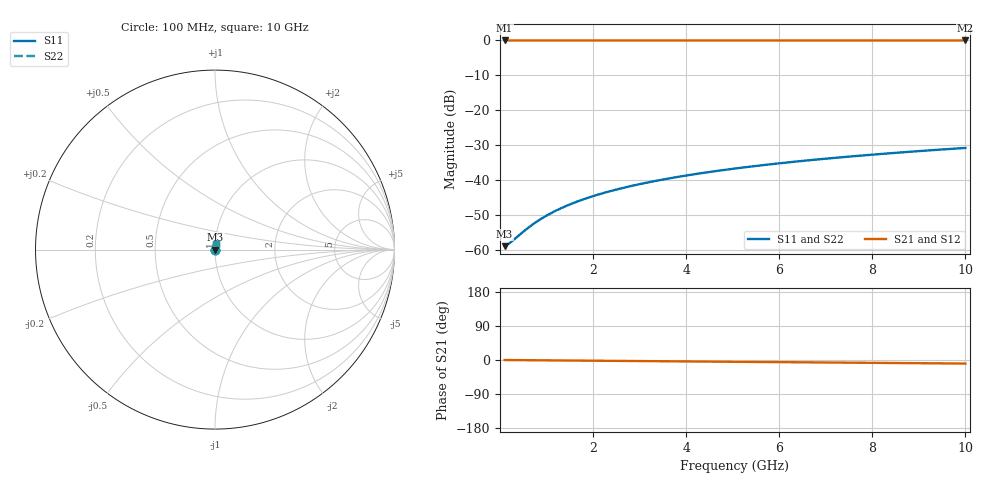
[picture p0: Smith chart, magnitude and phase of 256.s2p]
# Hz S RI R 50.00
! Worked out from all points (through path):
!   100 points, 100 MHz to 10 GHz, reference 50 ohm
!   highest |S21| = -0.01 dB at 100 MHz (marker M1); lowest = 0.0 dB at 10 GHz (marker M2)
!   group delay of S21, straight-line fit = 2.61 ps
!   lowest |S11| = -58.8 dB at 100 MHz (marker M3), VSWR 1.00, Z = 50.1 + j0.0291 ohm
!   |S11| at or under -10 dB: start of sweep to end of sweep
!   |S22| runs from -58.8 to -30.7 dB; largest |S21 - S12| = 0
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1e8  0.00111 0.00029  0.9989 -0.00163  0.9989 -0.00163  0.00111 0.00029
2e8  0.00112 0.000581  0.9989 -0.00326  0.9989 -0.00326  0.00112 0.000581
6e8  0.00115 0.00174  0.9988 -0.00979  0.9988 -0.00979  0.00115 0.00174
7e8  0.00116 0.00203  0.9988 -0.0114  0.9988 -0.0114  0.00116 0.00203
9e8  0.00118 0.00261  0.9987 -0.0147  0.9987 -0.0147  0.00118 0.00261
1.1e9  0.0012 0.00319  0.9987 -0.018  0.9987 -0.018  0.0012 0.00319
1.3e9  0.00123 0.00377  0.9986 -0.0212  0.9986 -0.0212  0.00123 0.00377
1.5e9  0.00125 0.00435  0.9985 -0.0245  0.9985 -0.0245  0.00125 0.00435
1.8e9  0.00131 0.00522  0.9984 -0.0294  0.9984 -0.0294  0.00131 0.00522
2.1e9  0.00136 0.00609  0.9982 -0.0343  0.9982 -0.0343  0.00136 0.00609
2.5e9  0.00146 0.00725  0.9979 -0.0408  0.9979 -0.0408  0.00146 0.00725
2.9e9  0.00156 0.0084  0.9976 -0.0473  0.9976 -0.0473  0.00156 0.0084
3.4e9  0.00171 0.00984  0.9972 -0.0555  0.9972 -0.0555  0.00171 0.00984
3.8e9  0.00185 0.011  0.9968 -0.062  0.9968 -0.062  0.00185 0.011
4.2e9  0.00201 0.0121  0.9963 -0.0685  0.9963 -0.0685  0.00201 0.0121
4.6e9  0.00218 0.0133  0.9959 -0.0751  0.9959 -0.0751  0.00218 0.0133
5.1e9  0.00241 0.0147  0.9952 -0.0832  0.9952 -0.0832  0.00241 0.0147
5.9e9  0.00283 0.017  0.9939 -0.0962  0.9939 -0.0962  0.00283 0.017
6.7e9  0.00331 0.0193  0.9925 -0.1093  0.9925 -0.1093  0.00331 0.0193
7.5e9  0.00385 0.0215  0.991 -0.1223  0.991 -0.1223  0.00385 0.0215
8.4e9  0.00453 0.024  0.989 -0.1369  0.989 -0.1369  0.00453 0.024
1e10  0.00593 0.0285  0.9849 -0.1628  0.9849 -0.1628  0.00593 0.0285
